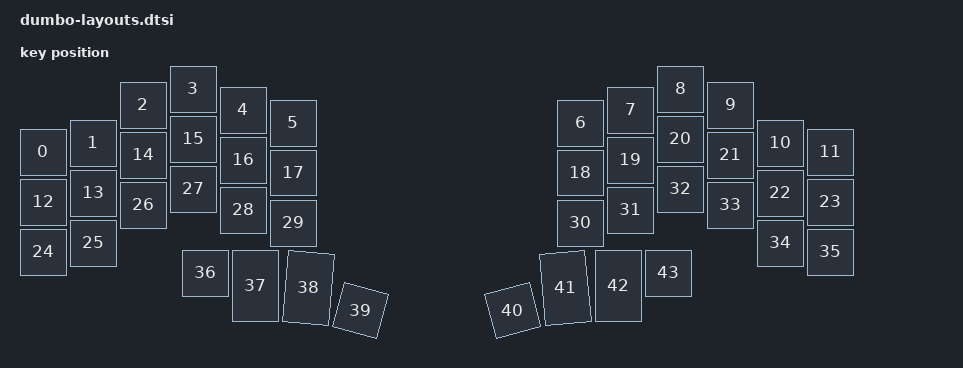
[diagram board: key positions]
// See https://zmk.dev/docs/development/hardware-integration/physical-layouts
// for how to configure this.

#include <physical_layouts.dtsi>

/ {
    default_layout: default_layout {
        compatible = "zmk,physical-layout";
        display-name = "Default Layout";
        transform = <&default_transform>;
        kscan = <&kscan>;

        // Edit this to define the positions and sizes of the keys, or remove it
        // if your keyboard will not support ZMK Studio.
        // https://zmk.dev/docs/development/hardware-integration/physical-layouts#optional-keys-property
        keys  //                     w   h    x    y     rot    rx    ry
            = <&key_physical_attrs 100 100    0  126       0     0     0>
            , <&key_physical_attrs 100 100  100  108       0     0     0>
            , <&key_physical_attrs 100 100  200   32       0     0     0>
            , <&key_physical_attrs 100 100  300    0       0     0     0>
            , <&key_physical_attrs 100 100  400   42       0     0     0>
            , <&key_physical_attrs 100 100  500   68       0     0     0>
            , <&key_physical_attrs 100 100 1075   68       0     0     0>
            , <&key_physical_attrs 100 100 1175   42       0     0     0>
            , <&key_physical_attrs 100 100 1275    0       0     0     0>
            , <&key_physical_attrs 100 100 1375   32       0     0     0>
            , <&key_physical_attrs 100 100 1475  108       0     0     0>
            , <&key_physical_attrs 100 100 1575  126       0     0     0>
            , <&key_physical_attrs 100 100    0  226       0     0     0>
            , <&key_physical_attrs 100 100  100  208       0     0     0>
            , <&key_physical_attrs 100 100  200  132       0     0     0>
            , <&key_physical_attrs 100 100  300  100       0     0     0>
            , <&key_physical_attrs 100 100  400  142       0     0     0>
            , <&key_physical_attrs 100 100  500  168       0     0     0>
            , <&key_physical_attrs 100 100 1075  168       0     0     0>
            , <&key_physical_attrs 100 100 1175  142       0     0     0>
            , <&key_physical_attrs 100 100 1275  100       0     0     0>
            , <&key_physical_attrs 100 100 1375  132       0     0     0>
            , <&key_physical_attrs 100 100 1475  208       0     0     0>
            , <&key_physical_attrs 100 100 1575  226       0     0     0>
            , <&key_physical_attrs 100 100    0  326       0     0     0>
            , <&key_physical_attrs 100 100  100  308       0     0     0>
            , <&key_physical_attrs 100 100  200  232       0     0     0>
            , <&key_physical_attrs 100 100  300  200       0     0     0>
            , <&key_physical_attrs 100 100  400  242       0     0     0>
            , <&key_physical_attrs 100 100  500  268       0     0     0>
            , <&key_physical_attrs 100 100 1075  268       0     0     0>
            , <&key_physical_attrs 100 100 1175  242       0     0     0>
            , <&key_physical_attrs 100 100 1275  200       0     0     0>
            , <&key_physical_attrs 100 100 1375  232       0     0     0>
            , <&key_physical_attrs 100 100 1475  308       0     0     0>
            , <&key_physical_attrs 100 100 1575  326       0     0     0>
            , <&key_physical_attrs 100 100  325  368       0     0     0>
            , <&key_physical_attrs 100 150  425  368       0     0     0>
            , <&key_physical_attrs 100 150  525  368     500   525   518>
            , <&key_physical_attrs 100 100  625  428    1500   625   525>
            , <&key_physical_attrs 100 100  950  428 (-1500)  1050   525>
            , <&key_physical_attrs 100 150 1050  368  (-500)  1150   512>
            , <&key_physical_attrs 100 150 1150  368       0     0     0>
            , <&key_physical_attrs 100 100 1250  368       0     0     0>
            ;
    };
};
